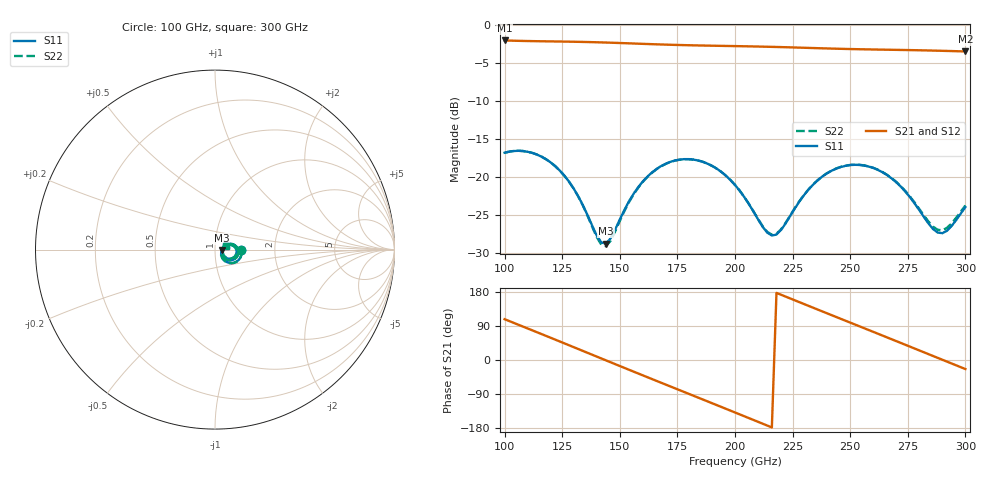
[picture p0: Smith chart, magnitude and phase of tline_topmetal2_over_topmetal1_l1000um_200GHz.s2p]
#  GHZ S DB R 50
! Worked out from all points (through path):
!   101 points, 100 GHz to 300 GHz, reference 50 ohm
!   highest |S21| = -1.97 dB at 100 GHz (marker M1); lowest = -3.4 dB at 300 GHz (marker M2)
!   group delay of S21, straight-line fit = 6.83 ps
!   lowest |S11| = -28.7 dB at 144 GHz (marker M3), VSWR 1.08, Z = 53.8 - j0.528 ohm
!   |S11| at or under -10 dB: start of sweep to end of sweep
!   |S22| runs from -29.1 to -16.5 dB; largest |S21 - S12| = 1.2e-13
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100  -16.76 -0.5  -1.97 107.7  -1.97 107.7  -16.76 -0.8
108  -16.54 -15.1  -2.03 88.1  -2.03 88.1  -16.54 -15.5
116  -17.28 -29.5  -2.08 68.5  -2.08 68.5  -17.27 -30.0
126  -19.80 -44.7  -2.12 43.8  -2.12 43.8  -19.81 -45.5
134  -23.69 -48.8  -2.17 23.9  -2.17 23.9  -23.74 -50.0
140  -27.67 -33.7  -2.21 9.0  -2.21 9.0  -27.89 -35.2
144  -28.73 -7.7  -2.25 -1.0  -2.25 -1.0  -29.07 -8.1
156  -22.16 23.0  -2.37 -30.7  -2.37 -30.7  -22.25 23.6
168  -18.51 9.0  -2.50 -60.2  -2.50 -60.2  -18.54 9.3
176  -17.66 -4.2  -2.57 -79.7  -2.57 -79.7  -17.68 -4.0
184  -17.78 -17.7  -2.63 -99.2  -2.63 -99.2  -17.79 -17.5
200  -21.01 -39.3  -2.71 -138.5  -2.71 -138.5  -20.99 -39.1
216  -27.67 -12.5  -2.81 -177.9  -2.81 -177.9  -27.56 -12.6
224  -25.07 17.0  -2.88 162.3  -2.88 162.3  -25.01 16.4
234  -20.93 17.5  -2.97 137.8  -2.97 137.8  -20.90 17.0
244  -18.85 4.8  -3.06 113.3  -3.06 113.3  -18.82 4.4
252  -18.35 -7.6  -3.11 93.8  -3.11 93.8  -18.33 -7.9
268  -20.15 -30.8  -3.20 54.7  -3.20 54.7  -20.10 -30.8
278  -23.46 -36.4  -3.25 30.2  -3.25 30.2  -23.34 -36.0
288  -27.28 -14.3  -3.32 5.6  -3.32 5.6  -26.91 -14.5
292  -27.04 2.3  -3.35 -4.2  -3.35 -4.2  -26.66 1.0
300  -23.93 18.7  -3.42 -23.9  -3.42 -23.9  -23.71 16.5
